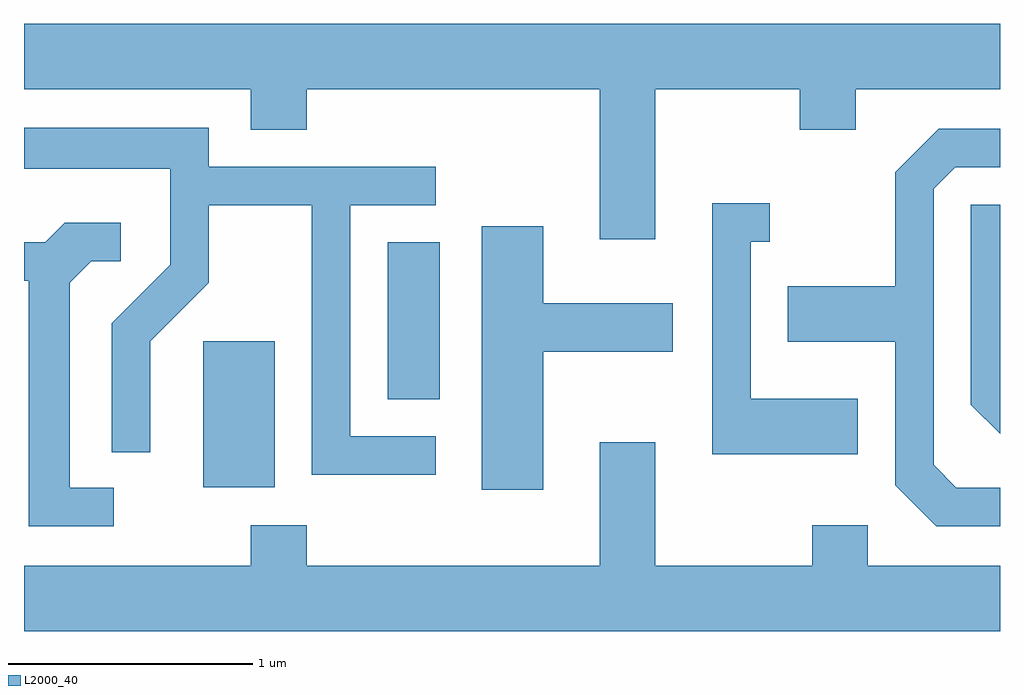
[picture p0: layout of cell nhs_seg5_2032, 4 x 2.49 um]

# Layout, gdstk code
import gdstk
lib = gdstk.Library(unit=1e-6, precision=1e-09)
def R(c, l, rs):  # rectangles x0, y0, x1, y1
    for r in rs: c.add(gdstk.rectangle(r[:2], r[2:], *l))
def P(c, l, *ps):  # polygons
    for p in ps: c.add(gdstk.Polygon(p, *l))
L2000_40 = (2000, 40)

nhs_seg5_2032 = lib.new_cell('nhs_seg5_2032')
R(nhs_seg5_2032, L2000_40, [(246.346,1437.406,246.639,1438.004), (247.101,1437.766,247.314,1438.409)])
P(nhs_seg5_2032, L2000_40, [(248.199,1439.036),(248.791,1439.036),(248.791,1438.871),(249.019,1438.871),(249.019,1439.036),(249.611,1439.036),(249.611,1439.304),(245.611,1439.304),(245.611,1439.036),(246.541,1439.036),(246.541,1438.871),(246.769,1438.871),(246.769,1439.036),(247.971,1439.036),(247.971,1438.421),(248.199,1438.421)],
  [(247.298,1437.614),(246.949,1437.614),(246.949,1438.561),(247.298,1438.561),(247.298,1438.719),(246.369,1438.719),(246.369,1438.879),(245.611,1438.879),(245.611,1438.711),(246.211,1438.711),(246.211,1438.317),(245.971,1438.077),(245.971,1437.548),(246.129,1437.548),(246.129,1438.004),(246.369,1438.244),(246.369,1438.561),(246.791,1438.561),(246.791,1437.456),(247.298,1437.456)],
  [(249.611,1437.404),(249.432,1437.404),(249.339,1437.497),(249.339,1438.629),(249.427,1438.716),(249.611,1438.716),(249.611,1438.874),(249.359,1438.874),(249.181,1438.697),(249.181,1438.229),(248.741,1438.229),(248.741,1438.001),(249.181,1438.001),(249.181,1437.414),(249.349,1437.246),(249.611,1437.246)],
  [(249.029,1437.769),(248.589,1437.769),(248.589,1438.411),(248.668,1438.411),(248.668,1438.569),(248.431,1438.569),(248.431,1437.541),(249.029,1437.541)],
  [(249.611,1438.564),(249.491,1438.564),(249.491,1437.744),(249.611,1437.624)],
  [(245.978,1437.404),(245.799,1437.404),(245.799,1438.244),(245.887,1438.331),(246.008,1438.331),(246.008,1438.489),(245.779,1438.489),(245.699,1438.409),(245.611,1438.409),(245.611,1438.251),(245.631,1438.251),(245.631,1437.246),(245.978,1437.246)],
  [(247.739,1437.961),(248.269,1437.961),(248.269,1438.159),(247.739,1438.159),(247.739,1438.474),(247.486,1438.474),(247.486,1437.396),(247.739,1437.396)],
  [(249.611,1437.084),(249.069,1437.084),(249.069,1437.249),(248.841,1437.249),(248.841,1437.084),(248.199,1437.084),(248.199,1437.589),(247.971,1437.589),(247.971,1437.084),(246.769,1437.084),(246.769,1437.249),(246.541,1437.249),(246.541,1437.084),(245.611,1437.084),(245.611,1436.816),(249.611,1436.816)])

lib.write_gds('nhs_seg5_2032.gds')
